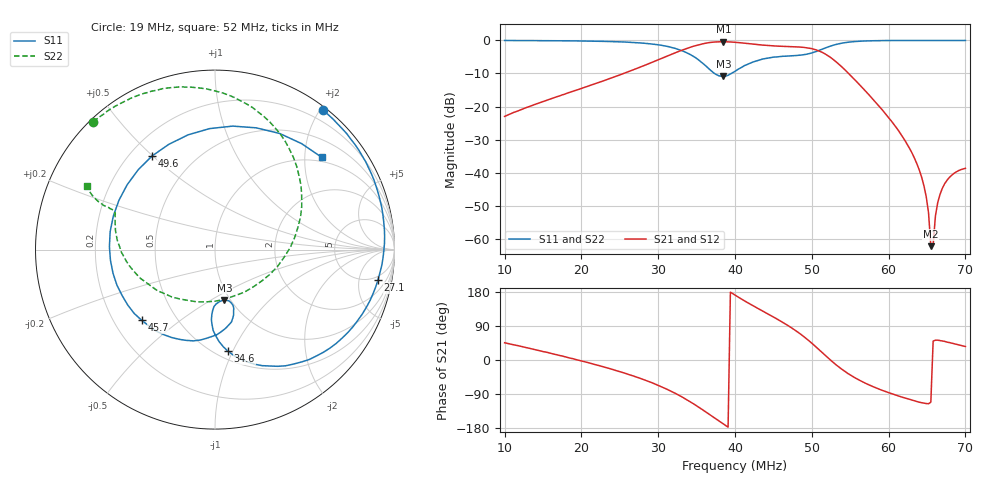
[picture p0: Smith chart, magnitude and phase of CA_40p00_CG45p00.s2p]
#  HZ  S  RI  R  50.00
! Rohde & Schwarz ZVT8 8Ports - Version 4.11 - 1300.0000k08 SN: 100242
! Date: 2026-07-31 14:53:24
! Measurements: S11 S21 S12 S22
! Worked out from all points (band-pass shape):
!   201 points, 10 MHz to 70 MHz, reference 50 ohm
!   highest |S21| = -0.40 dB at 38.5 MHz (marker M1); lowest = -62.1 dB at 65.5 MHz (marker M2)
!   |S21| within 3 dB of the highest: 32.59 MHz to 51.14 MHz (18.55 MHz wide, 44.3 % of centre)
!   lowest |S11| = -10.9 dB at 38.5 MHz (marker M3), VSWR 1.80, Z = 47.1 - j28.7 ohm
!   |S11| at or under -10 dB: 37.33 MHz to 39.5 MHz (2.177 MHz wide, 5.67 % of centre)
!   |S22| runs from -11.1 to 0.0 dB; largest |S21 - S12| = 0.0033
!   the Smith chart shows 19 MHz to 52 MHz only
!   S11 on the Smith chart (normalised r, x): 19 MHz: 0.05, +2.03; 27.1 MHz: 3.99, -9.16; 34.6 MHz: 0.57, -0.96; 45.7 MHz: 0.32, -0.37; 49.6 MHz: 0.29, +0.50; 52 MHz: 0.89, +2.40
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1e7  -0.4091 0.9089  0.0499 0.0508  0.0498 0.0508  -0.9197 0.384
1.9e7  0.6 0.778  0.1719 0.00884  0.1714 0.00822  -0.6771 0.7101
2.02e7  0.7072 0.6751  0.1915 -0.0115  0.1909 -0.0115  -0.6276 0.7498
2.71e7  0.9083 -0.1683  0.2652 -0.262  0.2646 -0.2614  -0.19 0.9071
3.01e7  0.676 -0.5221  0.1952 -0.4761  0.1963 -0.4758  0.109 0.847
3.46e7  0.0732 -0.5665  -0.3532 -0.7358  -0.3537 -0.7347  0.4829 0.3003
3.85e7  0.0529 -0.2801  -0.9377 -0.1823  -0.9368 -0.1801  0.0562 -0.2759
4e7  0.1043 -0.3244  -0.925 0.1421  -0.924 0.1428  -0.1967 -0.2751
4.57e7  -0.4082 -0.3941  -0.2179 0.7881  -0.2193 0.7875  -0.5545 0.1263
4.81e7  -0.5841 0.1006  0.2097 0.7684  0.2095 0.7674  -0.5586 0.2093
4.96e7  -0.3512 0.5212  0.4791 0.5974  0.4768 0.5958  -0.5925 0.2344
5.02e7  -0.149 0.6398  0.5597 0.4829  0.5595 0.4823  -0.6199 0.2462
5.2e7  0.5956 0.5135  0.5924 0.0783  0.591 0.0785  -0.714 0.3519
5.38e7  0.8863 -0.1664  0.377 -0.158  0.376 -0.1588  -0.7359 0.5297
5.59e7  0.5689 -0.7794  0.1501 -0.1796  0.1504 -0.1799  -0.6584 0.7093
6.01e7  -0.3434 -0.931  0.00361 -0.066  0.00362 -0.0658  -0.4293 0.8968
6.43e7  -0.8651 -0.4933  -0.00332 -0.00797  -0.00333 -0.00792  -0.2122 0.9744
6.52e7  -0.9227 -0.3757  -0.00108 -0.00227  -0.00106 -0.00224  -0.1693 0.9832
6.55e7  -0.9376 -0.3359  -0.000285 -0.00073  -0.000288 -0.000737  -0.1543 0.984
6.58e7  -0.9515 -0.2944  0.000531 0.000629  0.000523 0.00062  -0.1402 0.9876
6.7e7  -0.9871 -0.1305  0.00376 0.0045  0.00371 0.0045  -0.0826 0.9929
7e7  -0.9599 0.2671  0.00954 0.00681  0.00948 0.00675  0.056 0.9954
